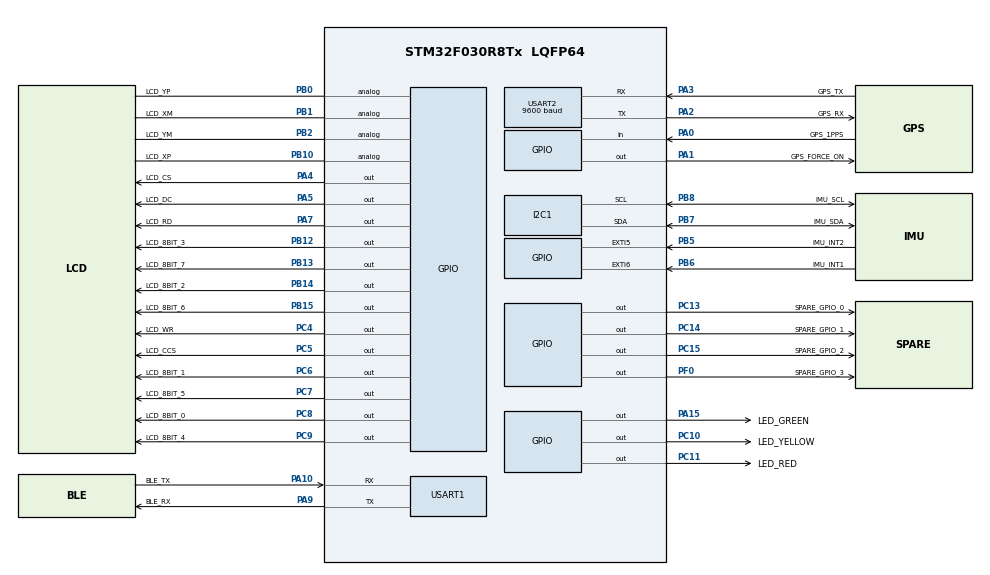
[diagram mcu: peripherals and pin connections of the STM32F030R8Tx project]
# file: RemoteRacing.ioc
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Dma.Request0=USART1_TX
Dma.Request1=USART2_RX
Dma.Request2=USART1_RX
Dma.USART1_RX.2.Direction=DMA_PERIPH_TO_MEMORY
Dma.USART1_RX.2.Instance=DMA1_Channel3
Dma.USART1_RX.2.MemDataAlignment=DMA_MDATAALIGN_BYTE
Dma.USART1_RX.2.MemInc=DMA_MINC_ENABLE
Dma.USART1_RX.2.Mode=DMA_CIRCULAR
Dma.USART1_RX.2.PeriphDataAlignment=DMA_PDATAALIGN_BYTE
Dma.USART1_RX.2.PeriphInc=DMA_PINC_DISABLE
Dma.USART1_RX.2.Priority=DMA_PRIORITY_MEDIUM
Dma.USART1_TX.0.Direction=DMA_MEMORY_TO_PERIPH
Dma.USART1_TX.0.Instance=DMA1_Channel2
Dma.USART1_TX.0.MemDataAlignment=DMA_MDATAALIGN_BYTE
Dma.USART1_TX.0.MemInc=DMA_MINC_ENABLE
Dma.USART1_TX.0.Mode=DMA_NORMAL
Dma.USART1_TX.0.PeriphDataAlignment=DMA_PDATAALIGN_BYTE
Dma.USART1_TX.0.PeriphInc=DMA_PINC_DISABLE
Dma.USART1_TX.0.Priority=DMA_PRIORITY_HIGH
Dma.USART2_RX.1.Direction=DMA_PERIPH_TO_MEMORY
Dma.USART2_RX.1.Instance=DMA1_Channel5
Dma.USART2_RX.1.MemDataAlignment=DMA_MDATAALIGN_BYTE
Dma.USART2_RX.1.MemInc=DMA_MINC_ENABLE
Dma.USART2_RX.1.Mode=DMA_CIRCULAR
Dma.USART2_RX.1.PeriphDataAlignment=DMA_PDATAALIGN_BYTE
Dma.USART2_RX.1.PeriphInc=DMA_PINC_DISABLE
Dma.USART2_RX.1.Priority=DMA_PRIORITY_VERY_HIGH
Mcu.Family=STM32F0
Mcu.Name=STM32F030R8Tx
Mcu.Package=LQFP64
NVIC.DMA1_Channel2_3_IRQn=true\:0\:0\:false\:false\:true\:false\:true
NVIC.DMA1_Channel4_5_IRQn=true\:0\:0\:false\:false\:true\:false\:true
NVIC.TIM1_BRK_UP_TRG_COM_IRQn=true\:0\:0\:false\:false\:true\:false\:true
NVIC.TimeBase=TIM1_BRK_UP_TRG_COM_IRQn
NVIC.TimeBaseIP=TIM1
NVIC.USART1_IRQn=true\:0\:0\:false\:false\:true\:true\:true
PA0.GPIO_Label=GPS_1PPS
PA0.Signal=GPIO_Input
PA1.GPIO_Label=GPS_FORCE_ON
PA1.Signal=GPIO_Output
PA10.GPIO_Label=BLE_TX
PA10.Mode=Asynchronous
PA10.Signal=USART1_RX
PA13.Mode=Serial_Wire
PA13.Signal=SYS_SWDIO
PA14.Mode=Serial_Wire
PA14.Signal=SYS_SWCLK
PA15.GPIO_Label=LED_GREEN
PA15.Signal=GPIO_Output
PA2.GPIO_Label=GPS_RX
PA2.Mode=Asynchronous
PA2.Signal=USART2_TX
PA3.GPIO_Label=GPS_TX
PA3.Mode=Asynchronous
PA3.Signal=USART2_RX
PA4.GPIO_Label=LCD_CS
PA4.PinState=GPIO_PIN_SET
PA4.Signal=GPIO_Output
PA5.GPIO_Label=LCD_DC
PA5.PinState=GPIO_PIN_SET
PA5.Signal=GPIO_Output
PA7.GPIO_Label=LCD_RD
PA7.PinState=GPIO_PIN_SET
PA7.Signal=GPIO_Output
PA9.GPIO_Label=BLE_RX
PA9.Mode=Asynchronous
PA9.Signal=USART1_TX
PB0.GPIO_Label=LCD_YP
PB0.Signal=GPIO_Analog
PB1.GPIO_Label=LCD_XM
PB1.Signal=GPIO_Analog
PB10.GPIO_Label=LCD_XP
PB10.Signal=GPIO_Analog
PB12.GPIO_Label=LCD_8BIT_3
PB12.Signal=GPIO_Output
PB13.GPIO_Label=LCD_8BIT_7
PB13.Signal=GPIO_Output
PB14.GPIO_Label=LCD_8BIT_2
PB14.Signal=GPIO_Output
PB15.GPIO_Label=LCD_8BIT_6
PB15.Signal=GPIO_Output
PB2.GPIO_Label=LCD_YM
PB2.Signal=GPIO_Analog
PB5.GPIO_Label=IMU_INT2
PB5.Signal=GPXTI5
PB6.GPIO_Label=IMU_INT1
PB6.Signal=GPXTI6
PB7.GPIO_Label=IMU_SDA
PB7.Mode=I2C
PB7.Signal=I2C1_SDA
PB8.GPIO_Label=IMU_SCL
PB8.Mode=I2C
PB8.Signal=I2C1_SCL
PC10.GPIO_Label=LED_YELLOW
PC10.Signal=GPIO_Output
PC11.GPIO_Label=LED_RED
PC11.Signal=GPIO_Output
PC13.GPIO_Label=SPARE_GPIO_0
PC13.Signal=GPIO_Output
PC14-OSC32_IN.GPIO_Label=SPARE_GPIO_1
PC14-OSC32_IN.Signal=GPIO_Output
PC15-OSC32_OUT.GPIO_Label=SPARE_GPIO_2
PC15-OSC32_OUT.Signal=GPIO_Output
PC4.GPIO_Label=LCD_WR
PC4.PinState=GPIO_PIN_SET
PC4.Signal=GPIO_Output
PC5.GPIO_Label=LCD_CCS
PC5.Signal=GPIO_Output
PC6.GPIO_Label=LCD_8BIT_1
PC6.Signal=GPIO_Output
PC7.GPIO_Label=LCD_8BIT_5
PC7.Signal=GPIO_Output
PC8.GPIO_Label=LCD_8BIT_0
PC8.Signal=GPIO_Output
PC9.GPIO_Label=LCD_8BIT_4
PC9.Signal=GPIO_Output
PF0-OSC_IN.GPIO_Label=SPARE_GPIO_3
PF0-OSC_IN.Signal=GPIO_Output
ProjectManager.HeapSize=0x200
ProjectManager.StackSize=0x400
ProjectManager.TargetToolchain=STM32CubeIDE
USART1.OverrunDisableParam=ADVFEATURE_OVERRUN_DISABLE
USART1.VirtualMode-Asynchronous=VM_ASYNC
USART2.BaudRate=9600
USART2.OverrunDisableParam=ADVFEATURE_OVERRUN_DISABLE
USART2.VirtualMode-Asynchronous=VM_ASYNC
VP_SYS_VS_tim1.Mode=TIM1
board=custom

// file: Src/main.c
/* USER CODE BEGIN Header */
/**
  ******************************************************************************
  * @file           : main.c
  * @brief          : Main program body
  ******************************************************************************
  * @attention
  *
  * <h2><center>&copy; Copyright (c) 2020 STMicroelectronics.
  * All rights reserved.</center></h2>
  *
  * This software component is licensed by ST under BSD 3-Clause license,
  * the "License"; You may not use this file except in compliance with the
  * License. You may obtain a copy of the License at:
  *                        opensource.org/licenses/BSD-3-Clause
  *
  ******************************************************************************
  */
/* USER CODE END Header */

#include "main.h"

I2C_HandleTypeDef hi2c1;

UART_HandleTypeDef huart1;
UART_HandleTypeDef huart2;
DMA_HandleTypeDef hdma_usart1_tx;
DMA_HandleTypeDef hdma_usart1_rx;
DMA_HandleTypeDef hdma_usart2_rx;

void SystemClock_Config(void);
static void MX_GPIO_Init(void);
static void MX_DMA_Init(void);
static void MX_I2C1_Init(void);
static void MX_USART1_UART_Init(void);
static void MX_USART2_UART_Init(void);

int main(void)
{

  /* MCU Configuration--------------------------------------------------------*/

  /* Reset of all peripherals, Initializes the Flash interface and the Systick. */
  HAL_Init();

  /* Configure the system clock */
  SystemClock_Config();

  /* Initialize all configured peripherals */
  MX_GPIO_Init();
  MX_DMA_Init();
  MX_I2C1_Init();
  MX_USART1_UART_Init();
  MX_USART2_UART_Init();
  /* USER CODE BEGIN 2 */
  HAL_Delay(1000);
  LCD_Init();
  fillScreen(ILI9341_WHITE);
  initMMA8452Q(MMA8452Q_Address, SCALE_2G, DR_800_Hz);
  ble_init(&huart1);
  gps_init(&huart2);
  print_idle();
  RTOS_INIT_TASKS();
  RTOS_INIT();
  /* USER CODE END 2 */

  /* Infinite loop */
  /* USER CODE BEGIN WHILE */
  while (1)
  {
	  // IMU test code
//	  if (available()){
//	  		  read();
//	  		  float temp_x = X;
//	  		  float temp_y = Y;
//	  		  float temp_z = Z;
//	  		  HAL_Delay(200);
//	  }
    /* USER CODE END WHILE */

  }
}

void SystemClock_Config(void)
{
  RCC_OscInitTypeDef RCC_OscInitStruct = {0};
  RCC_ClkInitTypeDef RCC_ClkInitStruct = {0};
  RCC_PeriphCLKInitTypeDef PeriphClkInit = {0};

  /** Initializes the CPU, AHB and APB busses clocks
  */
  RCC_OscInitStruct.OscillatorType = RCC_OSCILLATORTYPE_HSI;
  RCC_OscInitStruct.HSIState = RCC_HSI_ON;
  RCC_OscInitStruct.HSICalibrationValue = RCC_HSICALIBRATION_DEFAULT;
  RCC_OscInitStruct.PLL.PLLState = RCC_PLL_NONE;
  if (HAL_RCC_OscConfig(&RCC_OscInitStruct) != HAL_OK)
  {
    Error_Handler();
  }
  /** Initializes the CPU, AHB and APB busses clocks
  */
  RCC_ClkInitStruct.ClockType = RCC_CLOCKTYPE_HCLK|RCC_CLOCKTYPE_SYSCLK
                              |RCC_CLOCKTYPE_PCLK1;
  RCC_ClkInitStruct.SYSCLKSource = RCC_SYSCLKSOURCE_HSI;
  RCC_ClkInitStruct.AHBCLKDivider = RCC_SYSCLK_DIV1;
  RCC_ClkInitStruct.APB1CLKDivider = RCC_HCLK_DIV1;

  if (HAL_RCC_ClockConfig(&RCC_ClkInitStruct, FLASH_LATENCY_0) != HAL_OK)
  {
    Error_Handler();
  }
  PeriphClkInit.PeriphClockSelection = RCC_PERIPHCLK_USART1|RCC_PERIPHCLK_I2C1;
  PeriphClkInit.Usart1ClockSelection = RCC_USART1CLKSOURCE_PCLK1;
  PeriphClkInit.I2c1ClockSelection = RCC_I2C1CLKSOURCE_HSI;
  if (HAL_RCCEx_PeriphCLKConfig(&PeriphClkInit) != HAL_OK)
  {
    Error_Handler();
  }
}

static void MX_I2C1_Init(void)
{

  hi2c1.Instance = I2C1;
  hi2c1.Init.Timing = 0x2000090E;
  hi2c1.Init.OwnAddress1 = 0;
  hi2c1.Init.AddressingMode = I2C_ADDRESSINGMODE_7BIT;
  hi2c1.Init.DualAddressMode = I2C_DUALADDRESS_DISABLE;
  hi2c1.Init.OwnAddress2 = 0;
  hi2c1.Init.OwnAddress2Masks = I2C_OA2_NOMASK;
  hi2c1.Init.GeneralCallMode = I2C_GENERALCALL_DISABLE;
  hi2c1.Init.NoStretchMode = I2C_NOSTRETCH_DISABLE;
  if (HAL_I2C_Init(&hi2c1) != HAL_OK)
  {
    Error_Handler();
  }
  /** Configure Analogue filter
  */
  if (HAL_I2CEx_ConfigAnalogFilter(&hi2c1, I2C_ANALOGFILTER_ENABLE) != HAL_OK)
  {
    Error_Handler();
  }
  /** Configure Digital filter
  */
  if (HAL_I2CEx_ConfigDigitalFilter(&hi2c1, 0) != HAL_OK)
  {
    Error_Handler();
  }

}

static void MX_USART1_UART_Init(void)
{

  huart1.Instance = USART1;
  huart1.Init.BaudRate = 38400;
  huart1.Init.WordLength = UART_WORDLENGTH_8B;
  huart1.Init.StopBits = UART_STOPBITS_1;
  huart1.Init.Parity = UART_PARITY_NONE;
  huart1.Init.Mode = UART_MODE_TX_RX;
  huart1.Init.HwFlowCtl = UART_HWCONTROL_NONE;
  huart1.Init.OverSampling = UART_OVERSAMPLING_16;
  huart1.Init.OneBitSampling = UART_ONE_BIT_SAMPLE_DISABLE;
  huart1.AdvancedInit.AdvFeatureInit = UART_ADVFEATURE_RXOVERRUNDISABLE_INIT;
  huart1.AdvancedInit.OverrunDisable = UART_ADVFEATURE_OVERRUN_DISABLE;
  if (HAL_UART_Init(&huart1) != HAL_OK)
  {
    Error_Handler();
  }

}

static void MX_USART2_UART_Init(void)
{

  huart2.Instance = USART2;
  huart2.Init.BaudRate = 9600;
  huart2.Init.WordLength = UART_WORDLENGTH_8B;
  huart2.Init.StopBits = UART_STOPBITS_1;
  huart2.Init.Parity = UART_PARITY_NONE;
  huart2.Init.Mode = UART_MODE_TX_RX;
  huart2.Init.HwFlowCtl = UART_HWCONTROL_NONE;
  huart2.Init.OverSampling = UART_OVERSAMPLING_16;
  huart2.Init.OneBitSampling = UART_ONE_BIT_SAMPLE_DISABLE;
  huart2.AdvancedInit.AdvFeatureInit = UART_ADVFEATURE_RXOVERRUNDISABLE_INIT;
  huart2.AdvancedInit.OverrunDisable = UART_ADVFEATURE_OVERRUN_DISABLE;
  if (HAL_UART_Init(&huart2) != HAL_OK)
  {
    Error_Handler();
  }

}

static void MX_DMA_Init(void)
{

  /* DMA controller clock enable */
  __HAL_RCC_DMA1_CLK_ENABLE();

  /* DMA interrupt init */
  /* DMA1_Channel2_3_IRQn interrupt configuration */
  HAL_NVIC_SetPriority(DMA1_Channel2_3_IRQn, 0, 0);
  HAL_NVIC_EnableIRQ(DMA1_Channel2_3_IRQn);
  /* DMA1_Channel4_5_IRQn interrupt configuration */
  HAL_NVIC_SetPriority(DMA1_Channel4_5_IRQn, 0, 0);
  HAL_NVIC_EnableIRQ(DMA1_Channel4_5_IRQn);

}

static void MX_GPIO_Init(void)
{
  GPIO_InitTypeDef GPIO_InitStruct = {0};

  /* GPIO Ports Clock Enable */
  __HAL_RCC_GPIOC_CLK_ENABLE();
  __HAL_RCC_GPIOF_CLK_ENABLE();
  __HAL_RCC_GPIOA_CLK_ENABLE();
  __HAL_RCC_GPIOB_CLK_ENABLE();

  /*Configure GPIO pin Output Level */
  HAL_GPIO_WritePin(GPIOC, SPARE_GPIO_0_Pin|SPARE_GPIO_1_Pin|SPARE_GPIO_2_Pin|LCD_CCS_Pin
                          |LCD_8BIT_1_Pin|LCD_8BIT_5_Pin|LCD_8BIT_0_Pin|LCD_8BIT_4_Pin
                          |LED_YELLOW_Pin|LED_RED_Pin, GPIO_PIN_RESET);

  /*Configure GPIO pin Output Level */
  HAL_GPIO_WritePin(SPARE_GPIO_3_GPIO_Port, SPARE_GPIO_3_Pin, GPIO_PIN_RESET);

  /*Configure GPIO pin Output Level */
  HAL_GPIO_WritePin(GPIOA, GPS_FORCE_ON_Pin|LED_GREEN_Pin, GPIO_PIN_RESET);

  /*Configure GPIO pin Output Level */
  HAL_GPIO_WritePin(GPIOA, LCD_CS_Pin|LCD_DC_Pin|LCD_RD_Pin, GPIO_PIN_SET);

  /*Configure GPIO pin Output Level */
  HAL_GPIO_WritePin(LCD_WR_GPIO_Port, LCD_WR_Pin, GPIO_PIN_SET);

  /*Configure GPIO pin Output Level */
  HAL_GPIO_WritePin(GPIOB, LCD_8BIT_3_Pin|LCD_8BIT_7_Pin|LCD_8BIT_2_Pin|LCD_8BIT_6_Pin, GPIO_PIN_RESET);

  /*Configure GPIO pins : SPARE_GPIO_0_Pin SPARE_GPIO_1_Pin SPARE_GPIO_2_Pin LCD_WR_Pin
                           LCD_CCS_Pin LCD_8BIT_1_Pin LCD_8BIT_5_Pin LCD_8BIT_0_Pin
                           LCD_8BIT_4_Pin LED_YELLOW_Pin LED_RED_Pin */
  GPIO_InitStruct.Pin = SPARE_GPIO_0_Pin|SPARE_GPIO_1_Pin|SPARE_GPIO_2_Pin|LCD_WR_Pin
                          |LCD_CCS_Pin|LCD_8BIT_1_Pin|LCD_8BIT_5_Pin|LCD_8BIT_0_Pin
                          |LCD_8BIT_4_Pin|LED_YELLOW_Pin|LED_RED_Pin;
  GPIO_InitStruct.Mode = GPIO_MODE_OUTPUT_PP;
  GPIO_InitStruct.Pull = GPIO_NOPULL;
  GPIO_InitStruct.Speed = GPIO_SPEED_FREQ_LOW;
  HAL_GPIO_Init(GPIOC, &GPIO_InitStruct);

  /*Configure GPIO pin : SPARE_GPIO_3_Pin */
  GPIO_InitStruct.Pin = SPARE_GPIO_3_Pin;
  GPIO_InitStruct.Mode = GPIO_MODE_OUTPUT_PP;
  GPIO_InitStruct.Pull = GPIO_NOPULL;
  GPIO_InitStruct.Speed = GPIO_SPEED_FREQ_LOW;
  HAL_GPIO_Init(SPARE_GPIO_3_GPIO_Port, &GPIO_InitStruct);

  /*Configure GPIO pin : GPS_1PPS_Pin */
  GPIO_InitStruct.Pin = GPS_1PPS_Pin;
  GPIO_InitStruct.Mode = GPIO_MODE_INPUT;
  GPIO_InitStruct.Pull = GPIO_NOPULL;
  HAL_GPIO_Init(GPS_1PPS_GPIO_Port, &GPIO_InitStruct);

  /*Configure GPIO pins : GPS_FORCE_ON_Pin LCD_CS_Pin LCD_DC_Pin LCD_RD_Pin
                           LED_GREEN_Pin */
  GPIO_InitStruct.Pin = GPS_FORCE_ON_Pin|LCD_CS_Pin|LCD_DC_Pin|LCD_RD_Pin
                          |LED_GREEN_Pin;
  GPIO_InitStruct.Mode = GPIO_MODE_OUTPUT_PP;
  GPIO_InitStruct.Pull = GPIO_NOPULL;
  GPIO_InitStruct.Speed = GPIO_SPEED_FREQ_LOW;
  HAL_GPIO_Init(GPIOA, &GPIO_InitStruct);

  /*Configure GPIO pins : LCD_YP_Pin LCD_XM_Pin LCD_YM_Pin LCD_XP_Pin */
  GPIO_InitStruct.Pin = LCD_YP_Pin|LCD_XM_Pin|LCD_YM_Pin|LCD_XP_Pin;
  GPIO_InitStruct.Mode = GPIO_MODE_ANALOG;
  GPIO_InitStruct.Pull = GPIO_NOPULL;
  HAL_GPIO_Init(GPIOB, &GPIO_InitStruct);

  /*Configure GPIO pins : LCD_8BIT_3_Pin LCD_8BIT_7_Pin LCD_8BIT_2_Pin LCD_8BIT_6_Pin */
  GPIO_InitStruct.Pin = LCD_8BIT_3_Pin|LCD_8BIT_7_Pin|LCD_8BIT_2_Pin|LCD_8BIT_6_Pin;
  GPIO_InitStruct.Mode = GPIO_MODE_OUTPUT_PP;
  GPIO_InitStruct.Pull = GPIO_NOPULL;
  GPIO_InitStruct.Speed = GPIO_SPEED_FREQ_LOW;
  HAL_GPIO_Init(GPIOB, &GPIO_InitStruct);

  /*Configure GPIO pins : IMU_INT2_Pin IMU_INT1_Pin */
  GPIO_InitStruct.Pin = IMU_INT2_Pin|IMU_INT1_Pin;
  GPIO_InitStruct.Mode = GPIO_MODE_IT_RISING;
  GPIO_InitStruct.Pull = GPIO_NOPULL;
  HAL_GPIO_Init(GPIOB, &GPIO_InitStruct);

}

/* USER CODE BEGIN 4 */
void HAL_UART_RxCpltCallback(UART_HandleTypeDef *huart) {
	if (huart == &huart2) {
		gps_recieve_full();
	}
	else if (huart == &huart1) {
		xSemaphoreGiveFromISR(ble_receive_ready, NULL);
	}

}
void HAL_UART_RxHalfCpltCallback(UART_HandleTypeDef *huart) {
	if (huart == &huart2) {
		gps_recieve_half();
	}
}
/* USER CODE END 4 */

 /**
  * @brief  Period elapsed callback in non blocking mode
  * @note   This function is called  when TIM1 interrupt took place, inside
  * HAL_TIM_IRQHandler(). It makes a direct call to HAL_IncTick() to increment
  * a global variable "uwTick" used as application time base.
  * @param  htim : TIM handle
  * @retval None
  */
void HAL_TIM_PeriodElapsedCallback(TIM_HandleTypeDef *htim)
{
  if (htim->Instance == TIM1) {
    HAL_IncTick();
  }
}

void Error_Handler(void)
{
}

/************************ (C) COPYRIGHT STMicroelectronics *****END OF FILE****/
